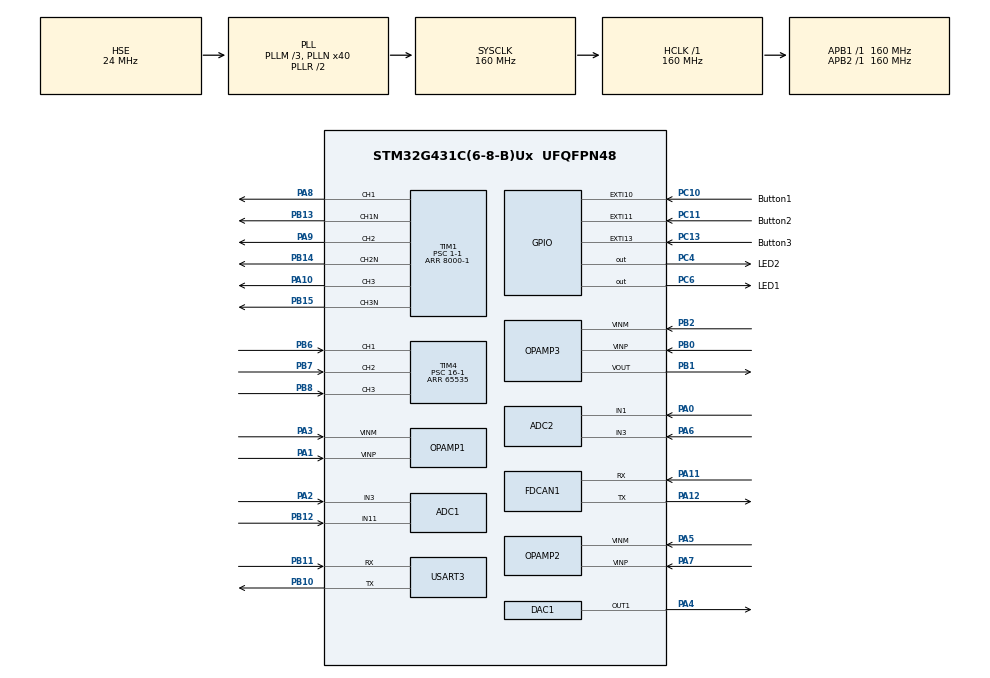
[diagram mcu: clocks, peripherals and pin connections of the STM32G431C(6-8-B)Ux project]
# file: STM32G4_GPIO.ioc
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ADC1.Channel-0\#ChannelRegularConversion=ADC_CHANNEL_11
ADC1.ClockPrescaler=ADC_CLOCK_ASYNC_DIV4
ADC1.EnableInjectedConversion=ENABLE
ADC1.ExternalTrigInjecConv=ADC_EXTERNALTRIGINJEC_T1_CC4
ADC1.InjNumberOfConversion=2
ADC1.InjectedChannel-1\#ChannelInjectedConversion=ADC_CHANNEL_3
ADC1.InjectedChannel-2\#ChannelInjectedConversion=ADC_CHANNEL_12
ADC1.InjectedOffsetNumber-1\#ChannelInjectedConversion=ADC_OFFSET_NONE
ADC1.InjectedOffsetNumber-2\#ChannelInjectedConversion=ADC_OFFSET_NONE
ADC1.InjectedRank-1\#ChannelInjectedConversion=1
ADC1.InjectedRank-2\#ChannelInjectedConversion=2
ADC1.InjectedSamplingTime-1\#ChannelInjectedConversion=ADC_SAMPLETIME_6CYCLES_5
ADC1.InjectedSamplingTime-2\#ChannelInjectedConversion=ADC_SAMPLETIME_6CYCLES_5
ADC1.NbrOfConversionFlag=1
ADC1.OffsetNumber-0\#ChannelRegularConversion=ADC_OFFSET_NONE
ADC1.Rank-0\#ChannelRegularConversion=1
ADC1.SamplingTime-0\#ChannelRegularConversion=ADC_SAMPLETIME_2CYCLES_5
ADC1.master=1
ADC2.Channel-2\#ChannelRegularConversion=ADC_CHANNEL_1
ADC2.ClockPrescaler=ADC_CLOCK_ASYNC_DIV4
ADC2.EnableInjectedConversion=ENABLE
ADC2.EnableRegularConversion=ENABLE
ADC2.ExternalTrigInjecConv=ADC_EXTERNALTRIGINJEC_T1_CC4
ADC2.InjNumberOfConversion=1
ADC2.InjectedChannel-1\#ChannelInjectedConversion=ADC_CHANNEL_3
ADC2.InjectedOffsetNumber-1\#ChannelInjectedConversion=ADC_OFFSET_NONE
ADC2.InjectedRank-1\#ChannelInjectedConversion=1
ADC2.InjectedSamplingTime-1\#ChannelInjectedConversion=ADC_SAMPLETIME_6CYCLES_5
ADC2.NbrOfConversionFlag=1
ADC2.OffsetNumber-2\#ChannelRegularConversion=ADC_OFFSET_NONE
ADC2.Rank-2\#ChannelRegularConversion=1
ADC2.SamplingTime-2\#ChannelRegularConversion=ADC_SAMPLETIME_2CYCLES_5
COMP1.TriggerMode=COMP_TRIGGERMODE_IT_RISING
Dma.Request0=USART3_TX
Dma.USART3_TX.0.Direction=DMA_MEMORY_TO_PERIPH
Dma.USART3_TX.0.EventEnable=DISABLE
Dma.USART3_TX.0.Instance=DMA1_Channel1
Dma.USART3_TX.0.MemDataAlignment=DMA_MDATAALIGN_BYTE
Dma.USART3_TX.0.MemInc=DMA_MINC_ENABLE
Dma.USART3_TX.0.Mode=DMA_NORMAL
Dma.USART3_TX.0.PeriphDataAlignment=DMA_PDATAALIGN_BYTE
Dma.USART3_TX.0.PeriphInc=DMA_PINC_DISABLE
Dma.USART3_TX.0.Polarity=HAL_DMAMUX_REQ_GEN_RISING
Dma.USART3_TX.0.Priority=DMA_PRIORITY_LOW
Dma.USART3_TX.0.RequestNumber=1
Dma.USART3_TX.0.SignalID=NONE
Dma.USART3_TX.0.SyncEnable=DISABLE
Dma.USART3_TX.0.SyncPolarity=HAL_DMAMUX_SYNC_NO_EVENT
Dma.USART3_TX.0.SyncRequestNumber=1
Dma.USART3_TX.0.SyncSignalID=NONE
FDCAN1.DataPrescaler=20
FDCAN1.DataTimeSeg1=10
FDCAN1.DataTimeSeg2=5
FDCAN1.ExtFiltersNbr=1
FDCAN1.NominalPrescaler=20
FDCAN1.NominalTimeSeg1=10
FDCAN1.NominalTimeSeg2=5
FDCAN1.StdFiltersNbr=1
Mcu.Family=STM32G4
Mcu.Name=STM32G431C(6-8-B)Ux
Mcu.Package=UFQFPN48
NVIC.ADC1_2_IRQn=true\:0\:0\:false\:false\:true\:true\:true
NVIC.COMP1_2_3_IRQn=true\:0\:0\:false\:false\:true\:false\:true
NVIC.DMA1_Channel1_IRQn=true\:0\:0\:false\:false\:true\:false\:true
NVIC.EXTI15_10_IRQn=true\:0\:0\:false\:false\:true\:true\:true
NVIC.FDCAN1_IT0_IRQn=true\:0\:0\:false\:false\:true\:true\:true
NVIC.PriorityGroup=NVIC_PRIORITYGROUP_4
NVIC.TIM1_BRK_TIM15_IRQn=true\:0\:0\:false\:false\:true\:true\:true
NVIC.TIM1_CC_IRQn=true\:0\:0\:false\:false\:true\:true\:true
NVIC.TIM1_UP_TIM16_IRQn=true\:0\:0\:false\:false\:true\:true\:true
NVIC.TIM4_IRQn=true\:0\:0\:false\:false\:true\:true\:true
NVIC.USART3_IRQn=true\:0\:0\:false\:false\:true\:true\:true
PA0.Mode=IN1-Single-Ended
PA0.Signal=ADC2_IN1
PA1.Mode=Standalone
PA1.Signal=OPAMP1_VINP
PA10.Signal=S_TIM1_CH3
PA11.Mode=FDCAN_Activate
PA11.Signal=FDCAN1_RX
PA12.Mode=FDCAN_Activate
PA12.Signal=FDCAN1_TX
PA13.Mode=Serial_Wire
PA13.Signal=SYS_JTMS-SWDIO
PA14.Mode=Serial_Wire
PA14.Signal=SYS_JTCK-SWCLK
PA2.Signal=SharedAnalog_PA2
PA3.Mode=Standalone
PA3.Signal=OPAMP1_VINM
PA4.Signal=COMP_DAC11_group
PA5.Mode=Standalone
PA5.Signal=OPAMP2_VINM
PA6.Signal=SharedAnalog_PA6
PA7.Mode=Standalone
PA7.Signal=OPAMP2_VINP
PA8.Signal=S_TIM1_CH1
PA9.Signal=S_TIM1_CH2
PB0.Mode=Standalone
PB0.Signal=OPAMP3_VINP
PB1.Signal=SharedAnalog_PB1
PB10.Mode=Asynchronous
PB10.Signal=USART3_TX
PB11.Mode=Asynchronous
PB11.Signal=USART3_RX
PB12.Mode=IN11-Single-Ended
PB12.Signal=ADC1_IN11
PB13.Mode=PWM Generation1 CH1 CH1N
PB13.Signal=TIM1_CH1N
PB14.Mode=PWM Generation2 CH2 CH2N
PB14.Signal=TIM1_CH2N
PB15.Mode=PWM Generation3 CH3 CH3N
PB15.Signal=TIM1_CH3N
PB2.Mode=Standalone
PB2.Signal=OPAMP3_VINM
PB6.Signal=S_TIM4_CH1
PB7.Signal=S_TIM4_CH2
PB8-BOOT0.Signal=S_TIM4_CH3
PC10.GPIO_Label=Button1
PC10.Signal=GPXTI10
PC11.GPIO_Label=Button2
PC11.Signal=GPXTI11
PC13.GPIO_Label=Button3
PC13.Signal=GPXTI13
PC4.GPIO_Label=LED2
PC4.Signal=GPIO_Output
PC6.GPIO_Label=LED1
PC6.Signal=GPIO_Output
PF0-OSC_IN.Mode=HSE-External-Oscillator
PF0-OSC_IN.Signal=RCC_OSC_IN
PF1-OSC_OUT.Mode=HSE-External-Oscillator
PF1-OSC_OUT.Signal=RCC_OSC_OUT
ProjectManager.HeapSize=0x200
ProjectManager.StackSize=0x400
ProjectManager.TargetToolchain=MDK-ARM V5.32
RCC.ADC12Freq_Value=160000000
RCC.AHBFreq_Value=160000000
RCC.APB1Freq_Value=160000000
RCC.APB1TimFreq_Value=160000000
RCC.APB2Freq_Value=160000000
RCC.APB2TimFreq_Value=160000000
RCC.CortexFreq_Value=160000000
RCC.EXTERNAL_CLOCK_VALUE=12288000
RCC.HCLKFreq_Value=160000000
RCC.HSE_VALUE=24000000
RCC.HSI48_VALUE=48000000
RCC.HSI_VALUE=16000000
RCC.LSE_VALUE=32768
RCC.PLLM=RCC_PLLM_DIV3
RCC.PLLN=40
RCC.PLLSourceVirtual=RCC_PLLSOURCE_HSE
RCC.SYSCLKFreq_VALUE=160000000
RCC.SYSCLKSource=RCC_SYSCLKSOURCE_PLLCLK
RCC.USBFreq_Value=160000000
RCC.VCOOutputFreq_Value=320000000
SH.COMP_DAC11_group.0=DAC1_OUT1,DAC_OUT1
SH.S_TIM1_CH1.0=TIM1_CH1,PWM Generation1 CH1 CH1N
SH.S_TIM1_CH2.0=TIM1_CH2,PWM Generation2 CH2 CH2N
SH.S_TIM1_CH3.0=TIM1_CH3,PWM Generation3 CH3 CH3N
SH.S_TIM4_CH1.0=TIM4_CH1,Xored_Inputs_Hall_Sensor_Interface
SH.S_TIM4_CH2.0=TIM4_CH2,Xored_Inputs_Hall_Sensor_Interface
SH.S_TIM4_CH3.0=TIM4_CH3,Xored_Inputs_Hall_Sensor_Interface
SH.SharedAnalog_PA2.0=ADC1_IN3,IN3-Single-Ended
SH.SharedAnalog_PA2.1=OPAMP1_VOUT,Standalone
SH.SharedAnalog_PA6.0=ADC2_IN3,IN3-Single-Ended
SH.SharedAnalog_PA6.1=OPAMP2_VOUT,Standalone
SH.SharedAnalog_PB1.0=OPAMP3_VOUT,Standalone
SH.SharedAnalog_PB1.1=ADC1_IN12,IN12-Single-Ended
SH.SharedAnalog_PB1.2=COMP1_INP,INP
STMicroelectronics.X-CUBE-ALGOBUILD.1.3.0.LibraryCcDSPOoLibraryJjDSPOoLibrary=true
TIM1.BreakFilter=2
TIM1.BreakState=TIM_BREAK_ENABLE
TIM1.Channel-PWM\ Generation1\ CH1\ CH1N=TIM_CHANNEL_1
TIM1.Channel-PWM\ Generation2\ CH2\ CH2N=TIM_CHANNEL_2
TIM1.Channel-PWM\ Generation3\ CH3\ CH3N=TIM_CHANNEL_3
TIM1.Channel-PWM\ Generation4\ No\ Output=TIM_CHANNEL_4
TIM1.ClockDivision=TIM_CLOCKDIVISION_DIV2
TIM1.CounterMode=TIM_COUNTERMODE_CENTERALIGNED1
TIM1.DeadTime=120
TIM1.OCMode_PWM-PWM\ Generation4\ No\ Output=TIM_OCMODE_PWM2
TIM1.PeriodNoDither=8000-1
TIM1.Prescaler=1-1
TIM1.PulseNoDither_4=8000-2
TIM1.RepetitionCounter=1
TIM1.SourceBRKCOMP1=TIM_BREAKINPUTSOURCE_ENABLE
TIM1.TIM_MasterOutputTrigger=TIM_TRGO_OC4REF
TIM4.Commutation_Delay=5
TIM4.IC1Filter=10
TIM4.PeriodNoDither=65535
TIM4.Prescaler=16-1
USART3.VirtualMode-Asynchronous=VM_ASYNC
VP_COMP1_VS_DAC3OUT1.Mode=INM_DAC3OUT1
VP_DAC3_VS_DACI1.Mode=DAC_OUT1_Int
VP_STMicroelectronics.X-CUBE-ALGOBUILD_VS_DSPOoLibraryJjLibrary_1.3.0_1.3.0.Mode=DSPOoLibraryJjLibrary
VP_SYS_VS_DBSignals.Mode=DisableDeadBatterySignals
VP_TIM1_VS_ClockSourceINT.Mode=Internal
VP_TIM1_VS_no_output4.Mode=PWM Generation4 No Output
VP_TIM4_VS_ClockSourceINT.Mode=Internal
board=custom

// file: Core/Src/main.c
/* USER CODE BEGIN Header */
/**
  ******************************************************************************
  * @file           : main.c
  * @brief          : Main program body
  ******************************************************************************
  * @attention
  *
  * <h2><center>&copy; Copyright (c) 2023 STMicroelectronics.
  * All rights reserved.</center></h2>
  *
  * This software component is licensed by ST under BSD 3-Clause license,
  * the "License"; You may not use this file except in compliance with the
  * License. You may obtain a copy of the License at:
  *                        opensource.org/licenses/BSD-3-Clause
  *
  ******************************************************************************
  */
/* USER CODE END Header */
#include "main.h"
#include "adc.h"
#include "comp.h"
#include "dac.h"
#include "dma.h"
#include "fdcan.h"
#include "opamp.h"
#include "tim.h"
#include "usart.h"
#include "gpio.h"
#include "FOC_Model.h"
/* USER CODE BEGIN Includes */
#include <stdio.h>
#include <string.h>
#include "foc_algorithm.h"
/* USER CODE END Includes */

/* USER CODE BEGIN PV */
#define PI					3.14159265358979f
#define PHASE_SHIFT_ANGLE (float)(220.0f/360.0f*2.0f*PI)

extern DMA_HandleTypeDef hdma_usart3_tx;
uint8_t DataB1[32] = "LED1 Toggle\r\n";
uint8_t DataB2[32] = "LED2 Toggle\r\n";
uint8_t DataB3[32] = "LED1 and LED2 Open\r\n";

#define RXBUFFERSIZE  256
char RxBuffer[RXBUFFERSIZE];
uint8_t aRxBuffer;
uint8_t Uart1_Rx_Cnt = 0;

float load_data[5];
static uint8_t tempData[24] = {0,0,0,0,0,0,0,0,0,0,0,0,0,0,0,0,0,0,0,0,0,0,0x80,0x7F};

uint16_t DAC_temp = 0;
u8 speed_close_loop_flag;
float Vbus,Ia,Ib,Ic;
uint8_t Motor_state = 0;
uint16_t IA_Offset,IB_Offset,IC_Offset;
uint16_t adc1_in1, adc1_in2, adc1_in3, adc1_in4,Vpoten, adc_vbus;
uint8_t ADC_offset = 0;
uint16_t finalspeed = 0;
FDCAN_RxHeaderTypeDef RxHeader;
FDCAN_TxHeaderTypeDef TxHeader;
uint8_t RxData[8]={NULL};
uint8_t TxData[8] = {NULL};

float HallTemp = 0;
float HallThetaAdd = 0;
float HallTheta = 0;
float HallSpeed = 0;
float HallSpeedLast = 0;
float HallSpeedtest = 0;
float alpha = 0.3;
uint8_t HallReadTemp = 0;
static __IO uint32_t uwTimingDelay;
/* USER CODE END PV */

void SystemClock_Config(void);
/* USER CODE BEGIN PFP */
void FDCAN_Config(void);
/* USER CODE END PFP */
uint8_t hfi_to_flux_ob_flag = 0;
float aalpha = 0.3;

int main(void)
{

  /* MCU Configuration--------------------------------------------------------*/

  /* Reset of all peripherals, Initializes the Flash interface and the Systick. */
  HAL_Init();

  /* Configure the system clock */
  SystemClock_Config();

  /* Initialize all configured peripherals */
  MX_GPIO_Init();
  MX_DMA_Init();
  MX_USART3_UART_Init();
  MX_ADC1_Init();
  MX_ADC2_Init();
  MX_OPAMP1_Init();
  MX_OPAMP2_Init();
  MX_OPAMP3_Init();
  MX_TIM1_Init();
  MX_COMP1_Init();
  MX_DAC1_Init();
  MX_DAC3_Init();
  MX_FDCAN1_Init();
  MX_TIM4_Init();
  /* USER CODE BEGIN 2 */
	HAL_OPAMP_Start(&hopamp1);
	HAL_OPAMP_Start(&hopamp2);
	HAL_OPAMP_Start(&hopamp3);
	HAL_UART_Receive_IT(&huart3, (uint8_t *)&aRxBuffer, 1);
	HAL_ADCEx_Calibration_Start( &hadc1, ADC_SINGLE_ENDED);
	HAL_ADCEx_Calibration_Start( &hadc2, ADC_SINGLE_ENDED);
	__HAL_ADC_CLEAR_FLAG( &hadc1, ADC_FLAG_JEOC);
	__HAL_ADC_CLEAR_FLAG( &hadc1, ADC_FLAG_EOC);
	__HAL_ADC_CLEAR_FLAG( &hadc2, ADC_FLAG_JEOC);
	HAL_ADCEx_InjectedStart_IT(&hadc1);
	HAL_ADCEx_InjectedStart(&hadc2);
	TIM1->ARR = 8000 - 1;
	TIM1->CCR4 = 8000 - 2;
	HAL_TIM_Base_Start( &htim1);
	HAL_TIM_PWM_Start( &htim1, TIM_CHANNEL_4);
	HAL_DAC_SetValue(&hdac3,DAC_CHANNEL_1,DAC_ALIGN_12B_R,3000);
	HAL_DAC_Start(&hdac3,DAC_CHANNEL_1);
	HAL_DAC_Start(&hdac1,DAC_CHANNEL_1);
	HAL_COMP_Start (&hcomp1);
	HAL_TIMEx_HallSensor_Start_IT(&htim4);
	FDCAN_Config();
	foc_algorithm_initialize();
//	rtU.SpeedRef=1000;
  /* USER CODE END 2 */

  /* Infinite loop */
  /* USER CODE BEGIN WHILE */
  while (1)
  {
		HAL_ADC_Start(&hadc1);
		HAL_ADC_Start(&hadc2);
		adc1_in4 = HAL_ADC_GetValue(&hadc1);
		adc_vbus = HAL_ADC_GetValue(&hadc2);
		rtU.v_bus = adc_vbus*3.3f/4096*26;
//		finalspeed = (adc1_in4>>4) * 15;
//		if(finalspeed >=0 && finalspeed <300)
//		{
//			finalspeed = 300;
//		}
//		if(finalspeed > 1200)
//		{
//			finalspeed = 1200;
//		}
//		rtU.Speed_ref = finalspeed;
		HAL_Delay(10);
    /* USER CODE END WHILE */

  }
}

void Delay(__IO uint32_t nTime)
{
  uwTimingDelay = nTime;

  while(uwTimingDelay != 0);
}

void TimingDelay_Decrement(void)
{
  if (uwTimingDelay != 0x00)
  {
    uwTimingDelay--;
  }
}

void SystemClock_Config(void)
{
  RCC_OscInitTypeDef RCC_OscInitStruct = {0};
  RCC_ClkInitTypeDef RCC_ClkInitStruct = {0};
  RCC_PeriphCLKInitTypeDef PeriphClkInit = {0};

  /** Configure the main internal regulator output voltage
  */
  HAL_PWREx_ControlVoltageScaling(PWR_REGULATOR_VOLTAGE_SCALE1_BOOST);
  /** Initializes the RCC Oscillators according to the specified parameters
  * in the RCC_OscInitTypeDef structure.
  */
  RCC_OscInitStruct.OscillatorType = RCC_OSCILLATORTYPE_HSE;
  RCC_OscInitStruct.HSEState = RCC_HSE_ON;
  RCC_OscInitStruct.PLL.PLLState = RCC_PLL_ON;
  RCC_OscInitStruct.PLL.PLLSource = RCC_PLLSOURCE_HSE;
  RCC_OscInitStruct.PLL.PLLM = RCC_PLLM_DIV3;
  RCC_OscInitStruct.PLL.PLLN = 40;
  RCC_OscInitStruct.PLL.PLLP = RCC_PLLP_DIV2;
  RCC_OscInitStruct.PLL.PLLQ = RCC_PLLQ_DIV2;
  RCC_OscInitStruct.PLL.PLLR = RCC_PLLR_DIV2;
  if (HAL_RCC_OscConfig(&RCC_OscInitStruct) != HAL_OK)
  {
    Error_Handler();
  }
  /** Initializes the CPU, AHB and APB buses clocks
  */
  RCC_ClkInitStruct.ClockType = RCC_CLOCKTYPE_HCLK|RCC_CLOCKTYPE_SYSCLK
                              |RCC_CLOCKTYPE_PCLK1|RCC_CLOCKTYPE_PCLK2;
  RCC_ClkInitStruct.SYSCLKSource = RCC_SYSCLKSOURCE_PLLCLK;
  RCC_ClkInitStruct.AHBCLKDivider = RCC_SYSCLK_DIV1;
  RCC_ClkInitStruct.APB1CLKDivider = RCC_HCLK_DIV1;
  RCC_ClkInitStruct.APB2CLKDivider = RCC_HCLK_DIV1;

  if (HAL_RCC_ClockConfig(&RCC_ClkInitStruct, FLASH_LATENCY_4) != HAL_OK)
  {
    Error_Handler();
  }
  /** Initializes the peripherals clocks
  */
  PeriphClkInit.PeriphClockSelection = RCC_PERIPHCLK_USART3|RCC_PERIPHCLK_ADC12
                              |RCC_PERIPHCLK_FDCAN;
  PeriphClkInit.Usart3ClockSelection = RCC_USART3CLKSOURCE_PCLK1;
  PeriphClkInit.FdcanClockSelection = RCC_FDCANCLKSOURCE_PCLK1;
  PeriphClkInit.Adc12ClockSelection = RCC_ADC12CLKSOURCE_SYSCLK;
  if (HAL_RCCEx_PeriphCLKConfig(&PeriphClkInit) != HAL_OK)
  {
    Error_Handler();
  }
}

/* USER CODE BEGIN 4 */

void HAL_GPIO_EXTI_Callback(uint16_t GPIO_Pin)
{
  /* Prevent unused argument(s) compilation warning */
  UNUSED(GPIO_Pin);
if(Button3_Pin == GPIO_Pin)
	{
		Motor_state = ~Motor_state;
		if(0 == Motor_state)
		{
			motor_start_stop=0;
			rtU.Motor_OnOff = 0;
			d_direction_flag=0;
			HAL_TIM_PWM_Stop( &htim1, TIM_CHANNEL_1);
			HAL_TIM_PWM_Stop( &htim1, TIM_CHANNEL_2);
			HAL_TIM_PWM_Stop( &htim1, TIM_CHANNEL_3);
			HAL_TIMEx_PWMN_Stop( &htim1, TIM_CHANNEL_1);
			HAL_TIMEx_PWMN_Stop( &htim1, TIM_CHANNEL_2);
			HAL_TIMEx_PWMN_Stop( &htim1, TIM_CHANNEL_3);
		}
		else
		{
			motor_start_stop = 1;
			rtU.Motor_OnOff = 1;
			d_direction_ok=0;
			HAL_TIM_PWM_Start( &htim1, TIM_CHANNEL_1);
			HAL_TIM_PWM_Start( &htim1, TIM_CHANNEL_2);
			HAL_TIM_PWM_Start( &htim1, TIM_CHANNEL_3);
			HAL_TIMEx_PWMN_Start( &htim1, TIM_CHANNEL_1);
			HAL_TIMEx_PWMN_Start( &htim1, TIM_CHANNEL_2);
			HAL_TIMEx_PWMN_Start( &htim1, TIM_CHANNEL_3);
		}
	}
  /* NOTE: This function should not be modified, when the callback is needed,
           the HAL_GPIO_EXTI_Callback could be implemented in the user file
   */
}

void HAL_UART_RxCpltCallback(UART_HandleTypeDef *huart)
{
  /* Prevent unused argument(s) compilation warning */
  UNUSED(huart);
	if(Uart1_Rx_Cnt >= 255)
	{
		Uart1_Rx_Cnt = 0;
		memset(RxBuffer,0x00,sizeof(RxBuffer));
		HAL_UART_Transmit(&huart3, (uint8_t *)"????", 10,0xFFFF);
	}
	else
	{
		RxBuffer[Uart1_Rx_Cnt++] = aRxBuffer;
//		Uart1_Rx_Cnt = 0;
//		memset(RxBuffer,0x00,sizeof(RxBuffer));
	}
	HAL_UART_Receive_IT(&huart3, (uint8_t *)&aRxBuffer, 1);
  /* NOTE: This function should not be modified, when the callback is needed,
           the HAL_UART_TxHalfCpltCallback can be implemented in the user file.
   */
}

int fputc(int ch, FILE *f)
{
 while ((USART3->ISR & 0X40) == 0);
 USART3->TDR = (uint8_t)ch;
 return ch;
}
//extern float q_current_bpf;
void HAL_ADCEx_InjectedConvCpltCallback(ADC_HandleTypeDef *hadc)
{
	static uint8_t cnt;
  /* Prevent unused argument(s) compilation warning */
  UNUSED(hadc);
	if(hadc == &hadc1)
	{
        if(ADC_offset == 0)
		{
			cnt++;
			adc1_in1 = hadc1.Instance->JDR1;
			adc1_in2 = hadc2.Instance->JDR1;
			adc1_in3 = hadc1.Instance->JDR2;
			IA_Offset += adc1_in1;
			IB_Offset += adc1_in2;
			IC_Offset += adc1_in3;
			if(cnt >= 10)
			{
				ADC_offset = 1;
				IA_Offset = IA_Offset/10;
				IB_Offset = IB_Offset/10;
				IC_Offset = IC_Offset/10;
			}
		}
		else
		{
			FOC_Input.Udc = rtU.v_bus;
			HallTheta = HallTheta + HallThetaAdd;
			if(HallTheta<0.0f)
			{
				HallTheta += 2.0f*PI;
			}
			else if(HallTheta>(2.0f*PI))
			{
				HallTheta -= 2.0f*PI;
			}
//			FOC_Input.theta=HallTheta;

//			Speed_Fdk = HallSpeed;
//			HallSpeedtest = aalpha * HallSpeed + (1 - aalpha) * HallSpeedLast;

			adc1_in1 = hadc1.Instance->JDR1;
			adc1_in3 = hadc1.Instance->JDR2;
			adc1_in2 = hadc2.Instance->JDR1;
			rtU.ia = (adc1_in1 - IA_Offset)*0.01933593f;
			rtU.ib = (adc1_in2 - IB_Offset)*0.01933593f;
			rtU.ic = (adc1_in3 - IC_Offset)*0.01933593f;
//			FOC_Model_step();
			motor_run();
//			TIM1->CCR1 = rtY.Tcmp1;
//			TIM1->CCR2 = rtY.Tcmp2;
//			TIM1->CCR3 = rtY.Tcmp3;
			load_data[0] = Speed_Ref;   //i
			load_data[1] = Speed_Fdk;   //IIR滤波之后得到的波形(低通滤波)
			load_data[2] =  FOC_Input.Iq_ref;//Flux_Observer.theta;//q_current_bpf;////     //IIR滤波之后得到的波形;（带通滤波）
			load_data[3] =  Current_Lpf_Idq.Iq; //0.04;//Current_Idq.Iq;    //rtU.Speed_ref;
			load_data[4] = rtU.ic;//-0.04;//HFI_Par.hfi_inj_volt;
			memcpy(tempData, (uint8_t *)&load_data, sizeof(load_data));
			HAL_UART_Transmit_DMA(&huart3,(uint8_t *)tempData,6*4);
		}
	}

  /* NOTE : This function should not be modified. When the callback is needed,
            function HAL_ADCEx_InjectedConvCpltCallback must be implemented in the user file.
  */
}

void HAL_TIM_IC_CaptureCallback(TIM_HandleTypeDef *htim)
{
  /* Prevent unused argument(s) compilation warning */
  UNUSED(htim);
		if(htim == &htim4)
	{
		HallTemp = HAL_TIM_ReadCapturedValue(&htim4,TIM_CHANNEL_1);;
		HallThetaAdd = (PI/3)/(HallTemp/10000000)/10000;
		HallSpeed = (PI/3)/(HallTemp/10000000)*30/(2*PI);
		HallReadTemp = HAL_GPIO_ReadPin(GPIOB,GPIO_PIN_8);
		HallReadTemp |= HAL_GPIO_ReadPin(GPIOB,GPIO_PIN_7)<<1;
		HallReadTemp |= HAL_GPIO_ReadPin(GPIOB,GPIO_PIN_6)<<2;
		if(HallReadTemp==0x05)
    {
      HallTheta = 0.0f+PHASE_SHIFT_ANGLE;
    }
    else if(HallReadTemp==0x04)
    {
      HallTheta = (PI/3.0f)+PHASE_SHIFT_ANGLE;
    }
    else if(HallReadTemp==0x06)
    {
      HallTheta = (PI*2.0f/3.0f)+PHASE_SHIFT_ANGLE;
    }
    else if(HallReadTemp==0x02)
    {
      HallTheta = PI+PHASE_SHIFT_ANGLE;
    }
    else if(HallReadTemp==0x03)
    {
      HallTheta = (PI*4.0f/3.0f)+PHASE_SHIFT_ANGLE;
    }
    else if(HallReadTemp==0x01)
    {
      HallTheta = (PI*5.0f/3.0f)+PHASE_SHIFT_ANGLE;
    }
    if(HallTheta<0.0f)
    {
      HallTheta += 2.0f*PI;
    }
    else if(HallTheta>(2.0f*PI))
    {
      HallTheta -= 2.0f*PI;
    }
	}

  /* NOTE : This function should not be modified, when the callback is needed,
            the HAL_TIM_IC_CaptureCallback could be implemented in the user file
   */
}

void FDCAN_Config(void)
{
  FDCAN_FilterTypeDef sFilterConfig;

  HAL_FDCAN_ActivateNotification(&hfdcan1, FDCAN_IT_RX_FIFO0_NEW_MESSAGE, 0);

  sFilterConfig.IdType = FDCAN_EXTENDED_ID;
  sFilterConfig.FilterIndex = 0;
  sFilterConfig.FilterType = FDCAN_FILTER_RANGE;
  sFilterConfig.FilterConfig = FDCAN_FILTER_TO_RXFIFO0;
  sFilterConfig.FilterID1 = 0x00000000;
  sFilterConfig.FilterID2 = 0x01ffffff;
  HAL_FDCAN_ConfigFilter(&hfdcan1, &sFilterConfig);

  TxHeader.Identifier = 0x1B;
  TxHeader.IdType = FDCAN_EXTENDED_ID;
  TxHeader.TxFrameType = FDCAN_DATA_FRAME;
  TxHeader.DataLength = FDCAN_DLC_BYTES_8;
  TxHeader.ErrorStateIndicator = FDCAN_ESI_ACTIVE;
  TxHeader.BitRateSwitch = FDCAN_BRS_OFF;
  TxHeader.FDFormat = FDCAN_CLASSIC_CAN;
  TxHeader.TxEventFifoControl = FDCAN_NO_TX_EVENTS;
  TxHeader.MessageMarker = 0x52;

  HAL_FDCAN_Start(&hfdcan1);
}

float theta_add1=0;
int obsever=0;
void motor_run(void)
{
  float vbus_temp;
  float ia_temp,ib_temp;
//  vbus_temp = (float)(ADC1->JDR1);                                //得到母线电压 adc转换值
//  ia_temp = (float)((int16_t)A_offset - (int16_t)ADC1->JDR2);   //得到A相电流 adc转换值
//  ib_temp = (float)((int16_t)B_offset - (int16_t)ADC1->JDR3);   //得到B相电流 adc转换值
//  Vbus = vbus_temp*VBUS_CONVERSION_FACTOR;                        //通过电压转换因子（通过分压电阻得到）把adc转换值 转化为 真实电压
  Ia = rtU.ia;//ia_temp*SAMPLE_CURR_CON_FACTOR;                            //通过电流转换因子（通过采样电阻和运算放大倍数得到）把adc采样值转化为真实电流值
  Ib = rtU.ib;//ib_temp*SAMPLE_CURR_CON_FACTOR;                            //通过电流转换因子（通过采样电阻和运算放大倍数得到）把adc采样值转化为真实电流值
  Ic = rtU.ic;//-Ia-Ib;                                                    //基于基尔霍夫电流定律，根据AB相电流去计算C相电流
//
//  Encoder_Process();

  //FOC运行函数需要用到的输入信息
  //
//  	FOC_Input.Iq_ref = 0.0f;
//	FOC_Input.Id_ref = 0.0f;
//			if(d_direction_flag==1)
//			{
//				FOC_Input.Iq_ref = 0.05f;
//			}
  if(hfi_to_flux_ob_flag == 0)
  {
	   obsever=1;
    FOC_Input.theta = HFI_Par.hfi_theta;
    if(d_direction_ok == 1)
    {
      FOC_Input.Iq_ref = 0.05f;
      if((HFI_Par.hfi_we > HFI_TO_FLUX_DOWN_FLAG)&&(HFI_Par.hfi_we < HFI_TO_FLUX_UP_FLAG))
      {
        if(hfi_to_flux_cnt>100)
        {
          hfi_to_flux_cnt = 0;
          hfi_to_flux_ob_flag = 1;
        }
        hfi_to_flux_cnt++;
      }

    }
  }
  else
  {
    if(speed_close_loop_flag == 1)
    {
      FOC_Input.Id_ref = 0.0f;
      Speed_Fdk = Flux_Observer.lpf_we;
      FOC_Input.Iq_ref = Speed_Pid_Out;
//      int_test1 = 5;
    }
    else
    {
      FOC_Input.Id_ref = 0.0f;
      FOC_Input.Iq_ref = 0.08f;
      Speed_Pid.I_Sum = 0.08f;
      if(Flux_Observer.lpf_we > SPEED_CLOSE_FLAG)
      {
        speed_close_loop_flag = 1;
      }
    }
    FOC_Input.theta = Flux_Observer.theta;
	  obsever=2;
  }
  //int_test1 = hfi_to_flux_ob_flag;
  //float_test1 = 6.28318548f * Speed_Ref;
//  float_test3 = Ia;
//  FOC_Input.Udc = Vbus;
//  FOC_Input.theta=HFI_Par.hfi_theta ;//  HallTheta;;  //角度为高频注入得到的角度
  FOC_Input.ia = Ia;
  FOC_Input.ib = Ib;
  FOC_Input.ic = Ic;

  if(motor_start_stop==1)
  {
	foc_algorithm_step();       //整个FOC运行函数（包括无感状态观测器，电流环，SVPWM，坐标变换，电机参数识别）
    PWM_TIM->CCR1 = (u16)(FOC_Output.Tcmp1);     //通过SVPWM得到的占空比赋值给定时器的寄存器
    PWM_TIM->CCR2 = (u16)(FOC_Output.Tcmp2);
    PWM_TIM->CCR3 = (u16)(FOC_Output.Tcmp3);
  }
  else
  {
    PWM_TIM->CCR1 = PWM_TIM_PULSE>>1;
    PWM_TIM->CCR2 = PWM_TIM_PULSE>>1;
    PWM_TIM->CCR3 = PWM_TIM_PULSE>>1;
  }

}
/* USER CODE END 4 */

void Error_Handler(void)
{
  __disable_irq();
  while (1)
  {
  }
}

/************************ (C) COPYRIGHT STMicroelectronics *****END OF FILE****/
